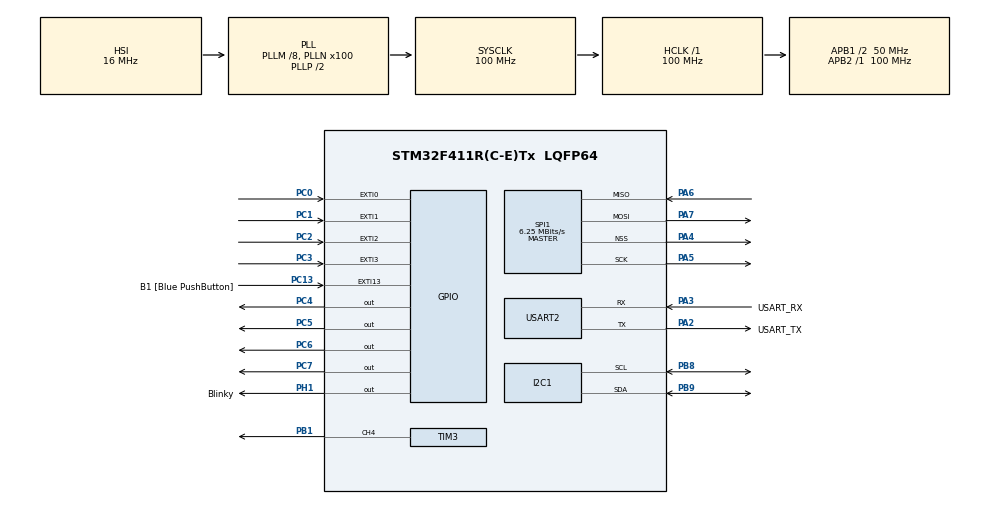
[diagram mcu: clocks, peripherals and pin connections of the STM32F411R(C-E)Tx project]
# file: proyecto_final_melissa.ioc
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Mcu.Family=STM32F4
Mcu.Name=STM32F411R(C-E)Tx
Mcu.Package=LQFP64
NVIC.EXTI0_IRQn=true\:0\:0\:false\:false\:true\:true\:true\:true
NVIC.EXTI1_IRQn=true\:0\:0\:false\:false\:true\:true\:true\:true
NVIC.EXTI2_IRQn=true\:0\:0\:false\:false\:true\:true\:true\:true
NVIC.EXTI3_IRQn=true\:0\:0\:false\:false\:true\:true\:true\:true
NVIC.PriorityGroup=NVIC_PRIORITYGROUP_0
NVIC.TIM1_TRG_COM_TIM11_IRQn=true\:0\:0\:false\:false\:true\:true\:true\:true
NVIC.TIM2_IRQn=true\:0\:0\:false\:false\:true\:true\:true\:true
NVIC.USART2_IRQn=true\:0\:0\:false\:false\:true\:true\:true\:true
PA13.GPIO_Label=TMS
PA13.Mode=Serial_Wire
PA13.Signal=SYS_JTMS-SWDIO
PA14.GPIO_Label=TCK
PA14.Mode=Serial_Wire
PA14.Signal=SYS_JTCK-SWCLK
PA2.GPIO_Label=USART_TX
PA2.Mode=Asynchronous
PA2.Signal=USART2_TX
PA3.GPIO_Label=USART_RX
PA3.Mode=Asynchronous
PA3.Signal=USART2_RX
PA4.Mode=NSS_Signal_Hard_Output
PA4.Signal=SPI1_NSS
PA5.Mode=Full_Duplex_Master
PA5.Signal=SPI1_SCK
PA6.Mode=Full_Duplex_Master
PA6.Signal=SPI1_MISO
PA7.Mode=Full_Duplex_Master
PA7.Signal=SPI1_MOSI
PB1.Signal=S_TIM3_CH4
PB3.GPIO_Label=SWO
PB3.Signal=SYS_JTDO-SWO
PB8.Mode=I2C
PB8.Signal=I2C1_SCL
PB9.Mode=I2C
PB9.Signal=I2C1_SDA
PC0.GPIO_ModeDefaultEXTI=GPIO_MODE_IT_FALLING
PC0.GPIO_PuPd=GPIO_PULLUP
PC0.Signal=GPXTI0
PC1.GPIO_ModeDefaultEXTI=GPIO_MODE_IT_FALLING
PC1.GPIO_PuPd=GPIO_PULLUP
PC1.Signal=GPXTI1
PC13-ANTI_TAMP.GPIO_Label=B1 [Blue PushButton]
PC13-ANTI_TAMP.GPIO_ModeDefaultEXTI=GPIO_MODE_IT_FALLING
PC13-ANTI_TAMP.Signal=GPXTI13
PC2.GPIO_ModeDefaultEXTI=GPIO_MODE_IT_FALLING
PC2.GPIO_PuPd=GPIO_PULLUP
PC2.Signal=GPXTI2
PC3.GPIO_ModeDefaultEXTI=GPIO_MODE_IT_FALLING
PC3.GPIO_PuPd=GPIO_PULLUP
PC3.Signal=GPXTI3
PC4.Signal=GPIO_Output
PC5.Signal=GPIO_Output
PC6.Signal=GPIO_Output
PC7.Signal=GPIO_Output
PH1\ -\ OSC_OUT.GPIO_Label=Blinky
PH1\ -\ OSC_OUT.Signal=GPIO_Output
ProjectManager.HeapSize=0x200
ProjectManager.StackSize=0x400
ProjectManager.TargetToolchain=STM32CubeIDE
RCC.48MHZClocksFreq_Value=50000000
RCC.AHBFreq_Value=100000000
RCC.APB1CLKDivider=RCC_HCLK_DIV2
RCC.APB1Freq_Value=50000000
RCC.APB1TimFreq_Value=100000000
RCC.APB2Freq_Value=100000000
RCC.APB2TimFreq_Value=100000000
RCC.CortexFreq_Value=100000000
RCC.FLatency-AdvancedSettings=FLASH_LATENCY_3
RCC.HCLKFreq_Value=100000000
RCC.HSE_VALUE=8000000
RCC.HSI_VALUE=16000000
RCC.LSE_VALUE=32768
RCC.PLLM=8
RCC.PLLN=100
RCC.SYSCLKFreq_VALUE=100000000
RCC.SYSCLKSource=RCC_SYSCLKSOURCE_PLLCLK
RCC.VCOOutputFreq_Value=200000000
SH.S_TIM3_CH4.0=TIM3_CH4,PWM Generation4 CH4
SPI1.BaudRatePrescaler=SPI_BAUDRATEPRESCALER_16
SPI1.CalculateBaudRate=6.25 MBits/s
SPI1.Direction=SPI_DIRECTION_2LINES
SPI1.Mode=SPI_MODE_MASTER
SPI1.VirtualNSS=VM_NSSHARD
SPI1.VirtualType=VM_MASTER
TIM11.Period=19999
TIM11.Prescaler=99
TIM2.AutoReloadPreload=TIM_AUTORELOAD_PRELOAD_ENABLE
TIM2.Period=199
TIM2.Prescaler=999
TIM3.Channel-PWM\ Generation4\ CH4=TIM_CHANNEL_4
TIM3.OCPolarity_4=TIM_OCPOLARITY_LOW
TIM3.Period=19999
TIM3.Prescaler=99
USART2.VirtualMode=VM_ASYNC
VP_TIM11_VS_ClockSourceINT.Mode=Enable_Timer
VP_TIM2_VS_ClockSourceINT.Mode=Internal
VP_TIM3_VS_ClockSourceINT.Mode=Internal
board=NUCLEO-F411RE

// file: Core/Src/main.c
/* USER CODE BEGIN Header */
/**
 ******************************************************************************
 * @file           : main.c
 * @brief          : Main program body
 ******************************************************************************
 * @attention
 *
 * Copyright (c) 2025 STMicroelectronics.
 * All rights reserved.
 *
 * This software is licensed under terms that can be found in the LICENSE file
 * in the root directory of this software component.
 * If no LICENSE file comes with this software, it is provided AS-IS.
 *
 ******************************************************************************
 */
/* USER CODE END Header */
#include "main.h"

/* USER CODE BEGIN Includes */
#include "LiquidCrystal_I2C.h"
#include "keypad.h"
#include "rc522.h"
#include "servo_lock.h"
#include "state_machine.h"
#include <string.h>
/* USER CODE END Includes */

I2C_HandleTypeDef hi2c1;

SPI_HandleTypeDef hspi1;

TIM_HandleTypeDef htim2;
TIM_HandleTypeDef htim3;
TIM_HandleTypeDef htim11;

UART_HandleTypeDef huart2;

/* USER CODE BEGIN PV */
LiquidCrystal_I2C_t lcd;
Keypad_t keypad;
Servo_t servo;
uint8_t rxChar; // Buffer for UART Receive
/* USER CODE END PV */

void SystemClock_Config(void);
static void MX_GPIO_Init(void);
static void MX_USART2_UART_Init(void);
static void MX_I2C1_Init(void);
static void MX_TIM11_Init(void);
static void MX_TIM3_Init(void);
static void MX_SPI1_Init(void);
static void MX_TIM2_Init(void);

int main(void)
{

  /* MCU Configuration--------------------------------------------------------*/

  /* Reset of all peripherals, Initializes the Flash interface and the Systick. */
  HAL_Init();

  /* Configure the system clock */
  SystemClock_Config();

  /* Initialize all configured peripherals */
  MX_GPIO_Init();
  MX_USART2_UART_Init();
  MX_I2C1_Init();
  MX_TIM11_Init();
  MX_TIM3_Init();
  MX_SPI1_Init();
  MX_TIM2_Init();
  /* USER CODE BEGIN 2 */

  // Debug UART
  char *msg = "UART Test: System Booting...\r\n";
  HAL_UART_Transmit(&huart2, (uint8_t *)msg, strlen(msg), 100);

  // 1. Initialize LCD
  LiquidCrystal_I2C_init(&lcd, &hi2c1, 0x23, 20, 4);
  LiquidCrystal_I2C_clear(&lcd);
  LiquidCrystal_I2C_backlight(&lcd);
  LiquidCrystal_I2C_setCursor(&lcd, 0, 0);
  LiquidCrystal_I2C_print(&lcd, "Iniciando...");
  HAL_Delay(1000);

  // 2. Initialize Keypad
  // Rows (Inputs)
  keypad.RowPorts[0] = GPIOC;
  keypad.RowPins[0] = GPIO_PIN_0;
  keypad.RowPorts[1] = GPIOC;
  keypad.RowPins[1] = GPIO_PIN_1;
  keypad.RowPorts[2] = GPIOC;
  keypad.RowPins[2] = GPIO_PIN_2;
  keypad.RowPorts[3] = GPIOC;
  keypad.RowPins[3] = GPIO_PIN_3;

  // Columns (Outputs)
  keypad.ColPorts[0] = GPIOC;
  keypad.ColPins[0] = GPIO_PIN_4;
  keypad.ColPorts[1] = GPIOC;
  keypad.ColPins[1] = GPIO_PIN_5;
  keypad.ColPorts[2] = GPIOC;
  keypad.ColPins[2] = GPIO_PIN_6;
  keypad.ColPorts[3] = GPIOC;
  keypad.ColPins[3] = GPIO_PIN_7;

  Keypad_Init(&keypad, &htim11);

  // 3. Initialize Servo
  Servo_Init(&servo, &htim3, TIM_CHANNEL_4);

  // === PRUEBA DEL SERVO ===
  LiquidCrystal_I2C_setCursor(&lcd, 0, 1);
  LiquidCrystal_I2C_print(&lcd, "Probando Servo..");

  Servo_SetAngle(&servo, 0); // Posición 0°
  HAL_Delay(1000);
  Servo_SetAngle(&servo, 90); // Posición 90°
  HAL_Delay(1000);
  Servo_SetAngle(&servo, 180); // Posición 180°
  HAL_Delay(1000);
  Servo_SetAngle(&servo, 0); // Regresa a 0°
  HAL_Delay(500);

  LiquidCrystal_I2C_print(&lcd, " OK!");
  LiquidCrystal_I2C_clear(&lcd);
  HAL_Delay(500);
  // === FIN PRUEBA SERVO ===

  // 4. Initialize RC522 (SPI) - Potential Hang Point
  LiquidCrystal_I2C_setCursor(&lcd, 0, 1);
  LiquidCrystal_I2C_print(&lcd, "Init RC522...");
  MFRC522_Init();
  LiquidCrystal_I2C_print(&lcd, " OK");
  HAL_Delay(500);

  // 5. Initialize State Machine
  SM_Init(&lcd, &keypad, &servo, &huart2);

  // 6. Start UART Reception
  HAL_UART_Receive_IT(&huart2, &rxChar, 1);

  /* USER CODE END 2 */

  /* Infinite loop */
  while (1) {

    /* USER CODE BEGIN 3 */
    SM_Run();
  }

  /* USER CODE END 3 */
}

void SystemClock_Config(void)
{
  RCC_OscInitTypeDef RCC_OscInitStruct = {0};
  RCC_ClkInitTypeDef RCC_ClkInitStruct = {0};

  /** Configure the main internal regulator output voltage
  */
  __HAL_RCC_PWR_CLK_ENABLE();
  __HAL_PWR_VOLTAGESCALING_CONFIG(PWR_REGULATOR_VOLTAGE_SCALE1);

  /** Initializes the RCC Oscillators according to the specified parameters
  * in the RCC_OscInitTypeDef structure.
  */
  RCC_OscInitStruct.OscillatorType = RCC_OSCILLATORTYPE_HSI;
  RCC_OscInitStruct.HSIState = RCC_HSI_ON;
  RCC_OscInitStruct.HSICalibrationValue = RCC_HSICALIBRATION_DEFAULT;
  RCC_OscInitStruct.PLL.PLLState = RCC_PLL_ON;
  RCC_OscInitStruct.PLL.PLLSource = RCC_PLLSOURCE_HSI;
  RCC_OscInitStruct.PLL.PLLM = 8;
  RCC_OscInitStruct.PLL.PLLN = 100;
  RCC_OscInitStruct.PLL.PLLP = RCC_PLLP_DIV2;
  RCC_OscInitStruct.PLL.PLLQ = 4;
  if (HAL_RCC_OscConfig(&RCC_OscInitStruct) != HAL_OK)
  {
    Error_Handler();
  }

  /** Initializes the CPU, AHB and APB buses clocks
  */
  RCC_ClkInitStruct.ClockType = RCC_CLOCKTYPE_HCLK|RCC_CLOCKTYPE_SYSCLK
                              |RCC_CLOCKTYPE_PCLK1|RCC_CLOCKTYPE_PCLK2;
  RCC_ClkInitStruct.SYSCLKSource = RCC_SYSCLKSOURCE_PLLCLK;
  RCC_ClkInitStruct.AHBCLKDivider = RCC_SYSCLK_DIV1;
  RCC_ClkInitStruct.APB1CLKDivider = RCC_HCLK_DIV2;
  RCC_ClkInitStruct.APB2CLKDivider = RCC_HCLK_DIV1;

  if (HAL_RCC_ClockConfig(&RCC_ClkInitStruct, FLASH_LATENCY_3) != HAL_OK)
  {
    Error_Handler();
  }
}

static void MX_I2C1_Init(void)
{

  hi2c1.Instance = I2C1;
  hi2c1.Init.ClockSpeed = 100000;
  hi2c1.Init.DutyCycle = I2C_DUTYCYCLE_2;
  hi2c1.Init.OwnAddress1 = 0;
  hi2c1.Init.AddressingMode = I2C_ADDRESSINGMODE_7BIT;
  hi2c1.Init.DualAddressMode = I2C_DUALADDRESS_DISABLE;
  hi2c1.Init.OwnAddress2 = 0;
  hi2c1.Init.GeneralCallMode = I2C_GENERALCALL_DISABLE;
  hi2c1.Init.NoStretchMode = I2C_NOSTRETCH_DISABLE;
  if (HAL_I2C_Init(&hi2c1) != HAL_OK)
  {
    Error_Handler();
  }

}

static void MX_SPI1_Init(void)
{

  /* SPI1 parameter configuration*/
  hspi1.Instance = SPI1;
  hspi1.Init.Mode = SPI_MODE_MASTER;
  hspi1.Init.Direction = SPI_DIRECTION_2LINES;
  hspi1.Init.DataSize = SPI_DATASIZE_8BIT;
  hspi1.Init.CLKPolarity = SPI_POLARITY_LOW;
  hspi1.Init.CLKPhase = SPI_PHASE_1EDGE;
  hspi1.Init.NSS = SPI_NSS_HARD_OUTPUT;
  hspi1.Init.BaudRatePrescaler = SPI_BAUDRATEPRESCALER_16;
  hspi1.Init.FirstBit = SPI_FIRSTBIT_MSB;
  hspi1.Init.TIMode = SPI_TIMODE_DISABLE;
  hspi1.Init.CRCCalculation = SPI_CRCCALCULATION_DISABLE;
  hspi1.Init.CRCPolynomial = 10;
  if (HAL_SPI_Init(&hspi1) != HAL_OK)
  {
    Error_Handler();
  }

}

static void MX_TIM2_Init(void)
{

  TIM_ClockConfigTypeDef sClockSourceConfig = {0};
  TIM_MasterConfigTypeDef sMasterConfig = {0};

  htim2.Instance = TIM2;
  htim2.Init.Prescaler = 999;
  htim2.Init.CounterMode = TIM_COUNTERMODE_UP;
  htim2.Init.Period = 199;
  htim2.Init.ClockDivision = TIM_CLOCKDIVISION_DIV1;
  htim2.Init.AutoReloadPreload = TIM_AUTORELOAD_PRELOAD_ENABLE;
  if (HAL_TIM_Base_Init(&htim2) != HAL_OK)
  {
    Error_Handler();
  }
  sClockSourceConfig.ClockSource = TIM_CLOCKSOURCE_INTERNAL;
  if (HAL_TIM_ConfigClockSource(&htim2, &sClockSourceConfig) != HAL_OK)
  {
    Error_Handler();
  }
  sMasterConfig.MasterOutputTrigger = TIM_TRGO_RESET;
  sMasterConfig.MasterSlaveMode = TIM_MASTERSLAVEMODE_DISABLE;
  if (HAL_TIMEx_MasterConfigSynchronization(&htim2, &sMasterConfig) != HAL_OK)
  {
    Error_Handler();
  }

}

static void MX_TIM3_Init(void)
{

  TIM_ClockConfigTypeDef sClockSourceConfig = {0};
  TIM_MasterConfigTypeDef sMasterConfig = {0};
  TIM_OC_InitTypeDef sConfigOC = {0};

  htim3.Instance = TIM3;
  htim3.Init.Prescaler = 99;
  htim3.Init.CounterMode = TIM_COUNTERMODE_UP;
  htim3.Init.Period = 19999;
  htim3.Init.ClockDivision = TIM_CLOCKDIVISION_DIV1;
  htim3.Init.AutoReloadPreload = TIM_AUTORELOAD_PRELOAD_DISABLE;
  if (HAL_TIM_Base_Init(&htim3) != HAL_OK)
  {
    Error_Handler();
  }
  sClockSourceConfig.ClockSource = TIM_CLOCKSOURCE_INTERNAL;
  if (HAL_TIM_ConfigClockSource(&htim3, &sClockSourceConfig) != HAL_OK)
  {
    Error_Handler();
  }
  if (HAL_TIM_PWM_Init(&htim3) != HAL_OK)
  {
    Error_Handler();
  }
  sMasterConfig.MasterOutputTrigger = TIM_TRGO_RESET;
  sMasterConfig.MasterSlaveMode = TIM_MASTERSLAVEMODE_DISABLE;
  if (HAL_TIMEx_MasterConfigSynchronization(&htim3, &sMasterConfig) != HAL_OK)
  {
    Error_Handler();
  }
  sConfigOC.OCMode = TIM_OCMODE_PWM1;
  sConfigOC.Pulse = 0;
  sConfigOC.OCPolarity = TIM_OCPOLARITY_LOW;
  sConfigOC.OCFastMode = TIM_OCFAST_DISABLE;
  if (HAL_TIM_PWM_ConfigChannel(&htim3, &sConfigOC, TIM_CHANNEL_4) != HAL_OK)
  {
    Error_Handler();
  }
  HAL_TIM_MspPostInit(&htim3);

}

static void MX_TIM11_Init(void)
{

  htim11.Instance = TIM11;
  htim11.Init.Prescaler = 99;
  htim11.Init.CounterMode = TIM_COUNTERMODE_UP;
  htim11.Init.Period = 19999;
  htim11.Init.ClockDivision = TIM_CLOCKDIVISION_DIV1;
  htim11.Init.AutoReloadPreload = TIM_AUTORELOAD_PRELOAD_DISABLE;
  if (HAL_TIM_Base_Init(&htim11) != HAL_OK)
  {
    Error_Handler();
  }

}

static void MX_USART2_UART_Init(void)
{

  huart2.Instance = USART2;
  huart2.Init.BaudRate = 115200;
  huart2.Init.WordLength = UART_WORDLENGTH_8B;
  huart2.Init.StopBits = UART_STOPBITS_1;
  huart2.Init.Parity = UART_PARITY_NONE;
  huart2.Init.Mode = UART_MODE_TX_RX;
  huart2.Init.HwFlowCtl = UART_HWCONTROL_NONE;
  huart2.Init.OverSampling = UART_OVERSAMPLING_16;
  if (HAL_UART_Init(&huart2) != HAL_OK)
  {
    Error_Handler();
  }

}

static void MX_GPIO_Init(void)
{
  GPIO_InitTypeDef GPIO_InitStruct = {0};

  /* GPIO Ports Clock Enable */
  __HAL_RCC_GPIOC_CLK_ENABLE();
  __HAL_RCC_GPIOH_CLK_ENABLE();
  __HAL_RCC_GPIOA_CLK_ENABLE();
  __HAL_RCC_GPIOB_CLK_ENABLE();

  /*Configure GPIO pin Output Level */
  HAL_GPIO_WritePin(Blinky_GPIO_Port, Blinky_Pin, GPIO_PIN_RESET);

  /*Configure GPIO pin Output Level */
  HAL_GPIO_WritePin(GPIOC, GPIO_PIN_4|GPIO_PIN_5|GPIO_PIN_6|GPIO_PIN_7, GPIO_PIN_RESET);

  /*Configure GPIO pin : B1_Pin */
  GPIO_InitStruct.Pin = B1_Pin;
  GPIO_InitStruct.Mode = GPIO_MODE_IT_FALLING;
  GPIO_InitStruct.Pull = GPIO_NOPULL;
  HAL_GPIO_Init(B1_GPIO_Port, &GPIO_InitStruct);

  /*Configure GPIO pin : Blinky_Pin */
  GPIO_InitStruct.Pin = Blinky_Pin;
  GPIO_InitStruct.Mode = GPIO_MODE_OUTPUT_PP;
  GPIO_InitStruct.Pull = GPIO_NOPULL;
  GPIO_InitStruct.Speed = GPIO_SPEED_FREQ_LOW;
  HAL_GPIO_Init(Blinky_GPIO_Port, &GPIO_InitStruct);

  /*Configure GPIO pins : PC0 PC1 PC2 PC3 */
  GPIO_InitStruct.Pin = GPIO_PIN_0|GPIO_PIN_1|GPIO_PIN_2|GPIO_PIN_3;
  GPIO_InitStruct.Mode = GPIO_MODE_IT_FALLING;
  GPIO_InitStruct.Pull = GPIO_PULLUP;
  HAL_GPIO_Init(GPIOC, &GPIO_InitStruct);

  /*Configure GPIO pins : PC4 PC5 PC6 PC7 */
  GPIO_InitStruct.Pin = GPIO_PIN_4|GPIO_PIN_5|GPIO_PIN_6|GPIO_PIN_7;
  GPIO_InitStruct.Mode = GPIO_MODE_OUTPUT_PP;
  GPIO_InitStruct.Pull = GPIO_NOPULL;
  GPIO_InitStruct.Speed = GPIO_SPEED_FREQ_LOW;
  HAL_GPIO_Init(GPIOC, &GPIO_InitStruct);

  /* EXTI interrupt init*/
  HAL_NVIC_SetPriority(EXTI0_IRQn, 0, 0);
  HAL_NVIC_EnableIRQ(EXTI0_IRQn);

  HAL_NVIC_SetPriority(EXTI1_IRQn, 0, 0);
  HAL_NVIC_EnableIRQ(EXTI1_IRQn);

  HAL_NVIC_SetPriority(EXTI2_IRQn, 0, 0);
  HAL_NVIC_EnableIRQ(EXTI2_IRQn);

  HAL_NVIC_SetPriority(EXTI3_IRQn, 0, 0);
  HAL_NVIC_EnableIRQ(EXTI3_IRQn);

}

/* USER CODE BEGIN 4 */
void HAL_GPIO_EXTI_Callback(uint16_t GPIO_Pin) {
  Keypad_HandleInterrupt(&keypad, GPIO_Pin);
}

void HAL_TIM_PeriodElapsedCallback(TIM_HandleTypeDef *htim) {
  if (htim->Instance == TIM11) {
    Keypad_TimerTick(&keypad);
  }
  if (htim->Instance == TIM2) {
    HAL_GPIO_TogglePin(GPIOH, GPIO_PIN_1);
  }
}

void HAL_UART_RxCpltCallback(UART_HandleTypeDef *huart) {
  if (huart->Instance == USART2) {
    SM_HandleUART((char)rxChar);
    HAL_UART_Receive_IT(&huart2, &rxChar, 1); // Restart Interrupt
  }
}

void HAL_UART_ErrorCallback(UART_HandleTypeDef *huart) {
  if (huart->Instance == USART2) {
    // Restart reception if error occurs (e.g. Overrun)
    HAL_UART_Receive_IT(&huart2, &rxChar, 1);
  }
}
/* USER CODE END 4 */

void Error_Handler(void)
{
  /* USER CODE BEGIN Error_Handler_Debug */
  /* User can add his own implementation to report the HAL error return state
   */
  __disable_irq();
  while (1) {
  }
  /* USER CODE END Error_Handler_Debug */
}

#ifdef  USE_FULL_ASSERT
/**
  * @brief  Reports the name of the source file and the source line number
  *         where the assert_param error has occurred.
  * @param  file: pointer to the source file name
  * @param  line: assert_param error line source number
  * @retval None
  */
void assert_failed(uint8_t *file, uint32_t line)
{
  /* USER CODE BEGIN 6 */
  /* User can add his own implementation to report the file name and line
number, ex: printf("Wrong parameters value: file %s on line %d\r\n",
file, line) */
  /* USER CODE END 6 */
}
#endif /* USE_FULL_ASSERT */
